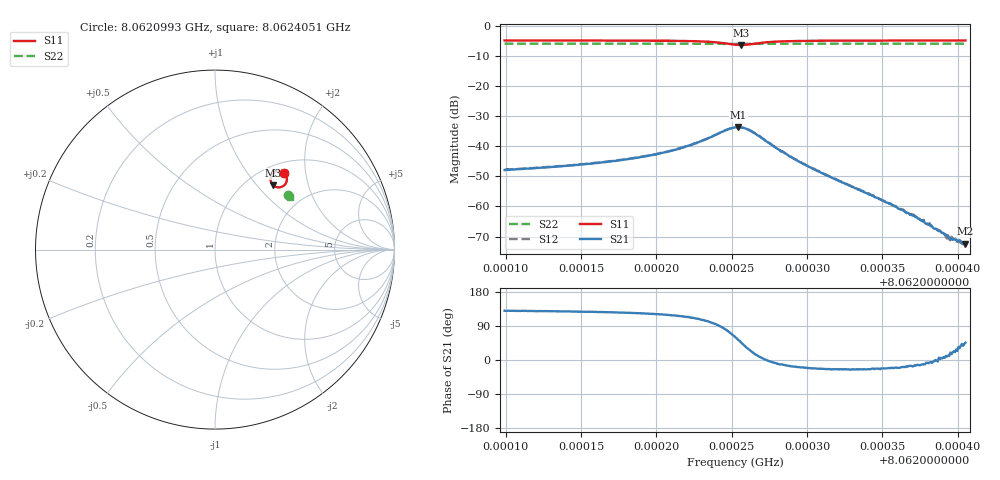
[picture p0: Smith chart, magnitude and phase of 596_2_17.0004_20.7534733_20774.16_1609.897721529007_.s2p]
#  HZ  S  RI  R  50.00
! Rohde & Schwarz Vector Network Analyzer
! Rohde-Schwarz,ZNB20-2Port,1311601062101988,3.16
! Created: UTC 3/20/2024, 11:18:50 PM
! freq[Hz]  re:S11  im:S11  re:S21  im:S21  re:S12  im:S12  re:S22  im:S22
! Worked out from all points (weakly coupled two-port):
!   401 points, 8.0620993 GHz to 8.0624051 GHz, reference 50 ohm
!   highest |S21| = -33.65 dB at 8.0622545 GHz (marker M1); lowest = -72.4 dB at 8.0624051 GHz (marker M2)
!   lowest |S11| = -6.3 dB at 8.062256 GHz (marker M3), VSWR 2.87, Z = 65.4 + j61.3 ohm
!   |S11| at or under -10 dB: nowhere
!   |S22| runs from -5.9 to -5.9 dB; largest |S21 - S12| = 0.0013
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8.06209928e9  0.384 0.4293  -0.0026 0.00308  -0.00244 0.0033  0.4066 0.3059
8.06215051e9  0.3894 0.4231  -0.00306 0.00398  -0.00283 0.00416  0.4085 0.3031
8.06217574e9  0.3929 0.4185  -0.00339 0.0048  -0.00316 0.00504  0.4095 0.3017
8.06220174e9  0.3975 0.4099  -0.00384 0.00651  -0.00348 0.00678  0.4105 0.3
8.06222315e9  0.4009 0.3939  -0.00386 0.0097  -0.00344 0.0101  0.4109 0.2981
8.06224074e9  0.39 0.3629  -0.00063 0.0161  0.000294 0.0162  0.4106 0.2963
8.06224762e9  0.3681 0.3486  0.00465 0.0186  0.00583 0.0183  0.4098 0.2955
8.06225221e9  0.3441 0.348  0.01 0.0181  0.011 0.0176  0.4088 0.2957
8.0622545e9  0.3316 0.3532  0.0125 0.0166  0.0135 0.0159  0.4083 0.2959
8.06225603e9  0.3242 0.3589  0.014 0.015  0.0151 0.0145  0.4082 0.2961
8.06226215e9  0.3095 0.3897  0.0164 0.00785  0.0172 0.00692  0.4082 0.2975
8.06227362e9  0.3269 0.4281  0.0118 -0.000245  0.0119 -0.000857  0.4098 0.2985
8.06229044e9  0.3526 0.4379  0.00611 -0.00186  0.00608 -0.00222  0.4118 0.2977
8.06230344e9  0.363 0.4373  0.00398 -0.0016  0.00395 -0.00187  0.4126 0.2969
8.06235467e9  0.3798 0.4312  0.00103 -0.000397  0.00102 -0.000454  0.4149 0.2939
8.06237225e9  0.3826 0.4294  0.00064 -0.000171  0.000655 -0.000205  0.4155 0.2929
8.06238984e9  0.385 0.4279  0.000358 2.73e-05  0.000356 -9.11e-06  0.4164 0.292
8.06239366e9  0.3854 0.4276  0.000318 6.46e-05  0.000325 6.66e-05  0.4164 0.2917
8.06239596e9  0.3856 0.4274  0.000286 7.91e-05  0.000307 6.99e-05  0.4165 0.2916
8.06239748e9  0.3859 0.4272  0.000266 0.000113  0.000273 7.17e-05  0.4165 0.2915
8.06240284e9  0.3864 0.4268  0.000179 0.000163  0.000159 0.00015  0.4166 0.2912
8.06240513e9  0.3867 0.4266  0.000167 0.000172  0.000197 0.000162  0.4167 0.2913
